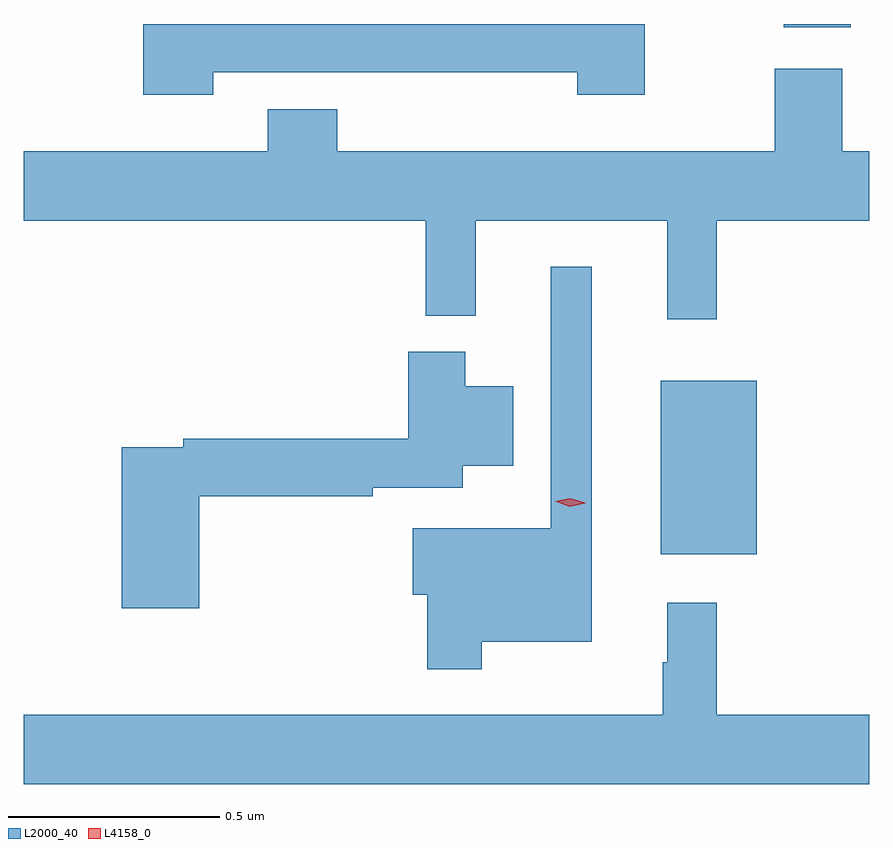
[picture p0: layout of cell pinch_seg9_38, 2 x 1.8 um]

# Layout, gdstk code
import gdstk
lib = gdstk.Library(unit=1e-6, precision=1e-09)
def R(c, l, rs):  # rectangles x0, y0, x1, y1
    for r in rs: c.add(gdstk.rectangle(r[:2], r[2:], *l))
def P(c, l, *ps):  # polygons
    for p in ps: c.add(gdstk.Polygon(p, *l))
L2000_40 = (2000, 40)
L4158_0 = (4158, 0)

pinch_seg9_38 = lib.new_cell('pinch_seg9_38')
R(pinch_seg9_38, L2000_40, [(925.847,1207.619,926.074,1208.029), (926.138,1208.865,926.296,1208.873)])
P(pinch_seg9_38, L2000_40, [(924.788,1208.759),(925.649,1208.759),(925.649,1208.706),(925.809,1208.706),(925.809,1208.873),(924.623,1208.873),(924.623,1208.706),(924.788,1208.706)],
  [(925.979,1208.408),(926.34,1208.408),(926.34,1208.572),(926.276,1208.572),(926.276,1208.767),(926.116,1208.767),(926.116,1208.572),(925.082,1208.572),(925.082,1208.671),(924.917,1208.671),(924.917,1208.572),(924.34,1208.572),(924.34,1208.408),(925.291,1208.408),(925.291,1208.183),(925.409,1208.183),(925.409,1208.408),(925.862,1208.408),(925.862,1208.175),(925.979,1208.175)],
  [(925.423,1207.412),(925.684,1207.412),(925.684,1208.299),(925.587,1208.299),(925.587,1207.681),(925.26,1207.681),(925.26,1207.523),(925.294,1207.523),(925.294,1207.347),(925.423,1207.347)],
  [(924.755,1207.756),(925.166,1207.756),(925.166,1207.776),(925.378,1207.776),(925.378,1207.829),(925.498,1207.829),(925.498,1208.017),(925.384,1208.017),(925.384,1208.098),(925.25,1208.098),(925.25,1207.892),(924.718,1207.892),(924.718,1207.872),(924.572,1207.872),(924.572,1207.491),(924.755,1207.491)],
  [(926.34,1207.24),(925.979,1207.24),(925.979,1207.504),(925.862,1207.504),(925.862,1207.364),(925.851,1207.364),(925.851,1207.24),(924.34,1207.24),(924.34,1207.076),(926.34,1207.076)])
P(pinch_seg9_38, L4158_0, [(925.632,1207.732),(925.597,1207.744),(925.597,1207.744),(925.597,1207.744),(925.633,1207.752),(925.668,1207.741),(925.668,1207.74),(925.668,1207.74)])

lib.write_gds('pinch_seg9_38.gds')
